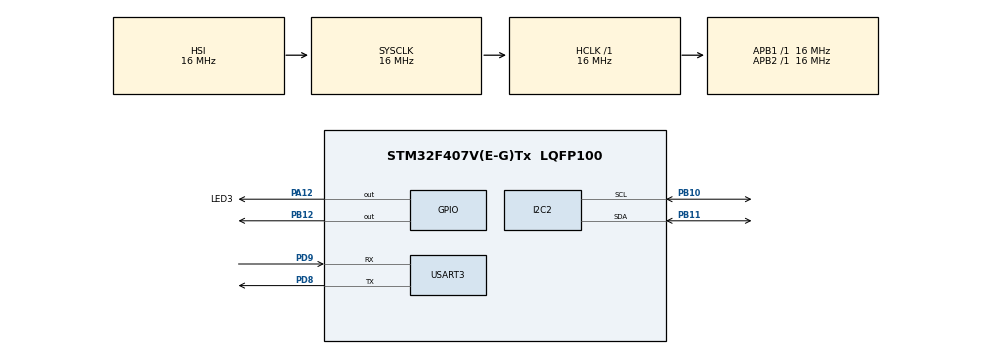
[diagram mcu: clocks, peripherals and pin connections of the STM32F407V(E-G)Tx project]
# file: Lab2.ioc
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Mcu.Family=STM32F4
Mcu.Name=STM32F407V(E-G)Tx
Mcu.Package=LQFP100
NVIC.PriorityGroup=NVIC_PRIORITYGROUP_4
PA12.GPIO_Label=LED3
PA12.Signal=GPIO_Output
PB10.Mode=I2C
PB10.Signal=I2C2_SCL
PB11.Mode=I2C
PB11.Signal=I2C2_SDA
PB12.Signal=GPIO_Output
PD8.Mode=Asynchronous
PD8.Signal=USART3_TX
PD9.Mode=Asynchronous
PD9.Signal=USART3_RX
ProjectManager.HeapSize=0x200
ProjectManager.StackSize=0x400
ProjectManager.TargetToolchain=STM32CubeIDE
RCC.AHBFreq_Value=16000000
RCC.APB1Freq_Value=16000000
RCC.APB2Freq_Value=16000000
RCC.CortexFreq_Value=16000000
RCC.HSE_VALUE=25000000
RCC.HSI_VALUE=16000000
RCC.LSE_VALUE=32768
RCC.SYSCLKFreq_VALUE=16000000
RCC.VCOOutputFreq_Value=192000000
USART3.VirtualMode=VM_ASYNC
board=custom

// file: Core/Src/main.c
/* USER CODE BEGIN Header */
/**
  ******************************************************************************
  * @file           : main.c
  * @brief          : Main program body
  ******************************************************************************
  * @attention
  *
  * Copyright (c) 2025 STMicroelectronics.
  * All rights reserved.
  *
  * This software is licensed under terms that can be found in the LICENSE file
  * in the root directory of this software component.
  * If no LICENSE file comes with this software, it is provided AS-IS.
  *
  ******************************************************************************
  */
/* USER CODE END Header */
#include "main.h"

/* USER CODE BEGIN Includes */
#include "MPU6050.h"
#include <math.h>
/* USER CODE END Includes */

I2C_HandleTypeDef hi2c2;
IMU_Data imu1;
UART_HandleTypeDef huart3;

void SystemClock_Config(void);
static void MX_GPIO_Init(void);
static void MX_I2C2_Init(void);
static void MX_USART3_UART_Init(void);

int main(void)
{
  /* USER CODE BEGIN 1 */
	char sbuf[10];

  /* USER CODE END 1 */

  /* MCU Configuration--------------------------------------------------------*/

  /* Reset of all peripherals, Initializes the Flash interface and the Systick. */
  HAL_Init();

  /* Configure the system clock */
  SystemClock_Config();

  /* Initialize all configured peripherals */
  MX_GPIO_Init();
  MX_I2C2_Init();
  MX_USART3_UART_Init();
  /* USER CODE BEGIN 2 */
  // (optional) If you want to explicitly set the address here:
  IMU_ADDR = 0x68 << 1;   // only if it's not already set in MPU6050.c

  // Initialise the IMU
  uint8_t *status = IMU_Initialise(&imu1, &hi2c2, &huart3);
  if (status != 0) {
      // Error string is inside 'status'; you can send it to UART
      HAL_UART_Transmit(&huart3, status, strlen((char*)status), HAL_MAX_DELAY);
      while (1);  // Stop here
  }
  // Gyro variables
  float gyroRoll = 0, gyroPitch = 0, gyroYaw = 0;
  static uint32_t millisOld = 0;
  // Low-pass filter variables
  static float accX_filtered = 0;
  static float accY_filtered = 0;
  static float accZ_filtered = 0;
  float alpha = 0.1f;  // filter coefficient (0 < alpha < 1)

  /* USER CODE END 2 */

  /* Infinite loop */
  /* USER CODE BEGIN WHILE */
  while (1)
  {
	  HAL_GPIO_WritePin(GPIOA, GPIO_PIN_12, GPIO_PIN_SET);

	  // Read IMU
	  IMU_AccelRead(&imu1);
	  IMU_GyroRead(&imu1);
	  char newline[] = "\r\n";

	  // Accelerometer XYZ
	  for (int i = 0; i < 3; i++){
		  sprintf(sbuf, "%5.2f, ", imu1.acc[i]);
		  HAL_UART_Transmit(&huart3, sbuf, strlen(sbuf), HAL_MAX_DELAY);
	  }

	  // Apply low-pass filter
	  accX_filtered = alpha * imu1.acc[0] + (1 - alpha) * accX_filtered;
	  accY_filtered = alpha * imu1.acc[1] + (1 - alpha) * accY_filtered;
	  accZ_filtered = alpha * imu1.acc[2] + (1 - alpha) * accZ_filtered;

//	  // Acce Roll and pitch w/o filter
//	  float roll  = atan2f(imu1.acc[1], imu1.acc[2]) * (180.0f / M_PI);
//	  float pitch = atan2f(-imu1.acc[0], sqrtf(imu1.acc[1]*imu1.acc[1] + imu1.acc[2]*imu1.acc[2])) * (180.0f / M_PI);

	  // Acce Roll and pitch with filter
	  float pitch = atan2f(-accX_filtered, sqrtf(accY_filtered*accY_filtered + accZ_filtered*accZ_filtered)) * (180.0f / M_PI);
	  float roll  = atan2f(accY_filtered, accZ_filtered) * (180.0f / M_PI);

	  sprintf(sbuf, "%5.2f, %5.2f, ", roll, pitch);
	  HAL_UART_Transmit(&huart3, sbuf, strlen(sbuf), HAL_MAX_DELAY);

	  // Gyro XYZ
	  for (int i = 0; i < 3; i++){
		  sprintf(sbuf, "%5.2f, ", imu1.gyro[i]);
		  HAL_UART_Transmit(&huart3, sbuf, strlen(sbuf), HAL_MAX_DELAY);
	  }

	  // Time elapsed for gyro integration
	  uint32_t millisNow = HAL_GetTick();
	  float dt = (millisOld == 0) ? 0.01f : (millisNow - millisOld) * 0.001f; // in seconds
	  millisOld = millisNow;

	  // Gyro roll pitch yaw integration (degrees/s * dt = degrees)
	  gyroRoll  += imu1.gyro[0] * dt;
	  gyroPitch += imu1.gyro[1] * dt;
	  gyroYaw   += imu1.gyro[2] * dt;
	  sprintf(sbuf, "%5.2f, %5.2f, %5.2f, ", gyroRoll, gyroPitch, gyroYaw);
	  HAL_UART_Transmit(&huart3, sbuf, strlen(sbuf), HAL_MAX_DELAY);

	  HAL_UART_Transmit(&huart3, newline,
	  	                        strlen(newline), HAL_MAX_DELAY);
	  HAL_GPIO_WritePin(GPIOA, GPIO_PIN_12, GPIO_PIN_RESET);

	  // Optional slowing down the reading
	  HAL_Delay(100);

    /* USER CODE END WHILE */

  }
}

void SystemClock_Config(void)
{
  RCC_OscInitTypeDef RCC_OscInitStruct = {0};
  RCC_ClkInitTypeDef RCC_ClkInitStruct = {0};

  /** Configure the main internal regulator output voltage
  */
  __HAL_RCC_PWR_CLK_ENABLE();
  __HAL_PWR_VOLTAGESCALING_CONFIG(PWR_REGULATOR_VOLTAGE_SCALE1);

  /** Initializes the RCC Oscillators according to the specified parameters
  * in the RCC_OscInitTypeDef structure.
  */
  RCC_OscInitStruct.OscillatorType = RCC_OSCILLATORTYPE_HSI;
  RCC_OscInitStruct.HSIState = RCC_HSI_ON;
  RCC_OscInitStruct.HSICalibrationValue = RCC_HSICALIBRATION_DEFAULT;
  RCC_OscInitStruct.PLL.PLLState = RCC_PLL_NONE;
  if (HAL_RCC_OscConfig(&RCC_OscInitStruct) != HAL_OK)
  {
    Error_Handler();
  }

  /** Initializes the CPU, AHB and APB buses clocks
  */
  RCC_ClkInitStruct.ClockType = RCC_CLOCKTYPE_HCLK|RCC_CLOCKTYPE_SYSCLK
                              |RCC_CLOCKTYPE_PCLK1|RCC_CLOCKTYPE_PCLK2;
  RCC_ClkInitStruct.SYSCLKSource = RCC_SYSCLKSOURCE_HSI;
  RCC_ClkInitStruct.AHBCLKDivider = RCC_SYSCLK_DIV1;
  RCC_ClkInitStruct.APB1CLKDivider = RCC_HCLK_DIV1;
  RCC_ClkInitStruct.APB2CLKDivider = RCC_HCLK_DIV1;

  if (HAL_RCC_ClockConfig(&RCC_ClkInitStruct, FLASH_LATENCY_0) != HAL_OK)
  {
    Error_Handler();
  }
}

static void MX_I2C2_Init(void)
{

  hi2c2.Instance = I2C2;
  hi2c2.Init.ClockSpeed = 100000;
  hi2c2.Init.DutyCycle = I2C_DUTYCYCLE_2;
  hi2c2.Init.OwnAddress1 = 0;
  hi2c2.Init.AddressingMode = I2C_ADDRESSINGMODE_7BIT;
  hi2c2.Init.DualAddressMode = I2C_DUALADDRESS_DISABLE;
  hi2c2.Init.OwnAddress2 = 0;
  hi2c2.Init.GeneralCallMode = I2C_GENERALCALL_DISABLE;
  hi2c2.Init.NoStretchMode = I2C_NOSTRETCH_DISABLE;
  if (HAL_I2C_Init(&hi2c2) != HAL_OK)
  {
    Error_Handler();
  }

}

static void MX_USART3_UART_Init(void)
{

  huart3.Instance = USART3;
  huart3.Init.BaudRate = 115200;
  huart3.Init.WordLength = UART_WORDLENGTH_8B;
  huart3.Init.StopBits = UART_STOPBITS_1;
  huart3.Init.Parity = UART_PARITY_NONE;
  huart3.Init.Mode = UART_MODE_TX_RX;
  huart3.Init.HwFlowCtl = UART_HWCONTROL_NONE;
  huart3.Init.OverSampling = UART_OVERSAMPLING_16;
  if (HAL_UART_Init(&huart3) != HAL_OK)
  {
    Error_Handler();
  }

}

static void MX_GPIO_Init(void)
{
  GPIO_InitTypeDef GPIO_InitStruct = {0};

  /* GPIO Ports Clock Enable */
  __HAL_RCC_GPIOB_CLK_ENABLE();
  __HAL_RCC_GPIOD_CLK_ENABLE();
  __HAL_RCC_GPIOA_CLK_ENABLE();

  /*Configure GPIO pin Output Level */
  HAL_GPIO_WritePin(GPIOB, GPIO_PIN_12, GPIO_PIN_RESET);

  /*Configure GPIO pin Output Level */
  HAL_GPIO_WritePin(LED3_GPIO_Port, LED3_Pin, GPIO_PIN_RESET);

  /*Configure GPIO pin : PB12 */
  GPIO_InitStruct.Pin = GPIO_PIN_12;
  GPIO_InitStruct.Mode = GPIO_MODE_OUTPUT_PP;
  GPIO_InitStruct.Pull = GPIO_NOPULL;
  GPIO_InitStruct.Speed = GPIO_SPEED_FREQ_LOW;
  HAL_GPIO_Init(GPIOB, &GPIO_InitStruct);

  /*Configure GPIO pin : LED3_Pin */
  GPIO_InitStruct.Pin = LED3_Pin;
  GPIO_InitStruct.Mode = GPIO_MODE_OUTPUT_PP;
  GPIO_InitStruct.Pull = GPIO_NOPULL;
  GPIO_InitStruct.Speed = GPIO_SPEED_FREQ_LOW;
  HAL_GPIO_Init(LED3_GPIO_Port, &GPIO_InitStruct);

}

void Error_Handler(void)
{
  __disable_irq();
  while (1)
  {
  }
}
